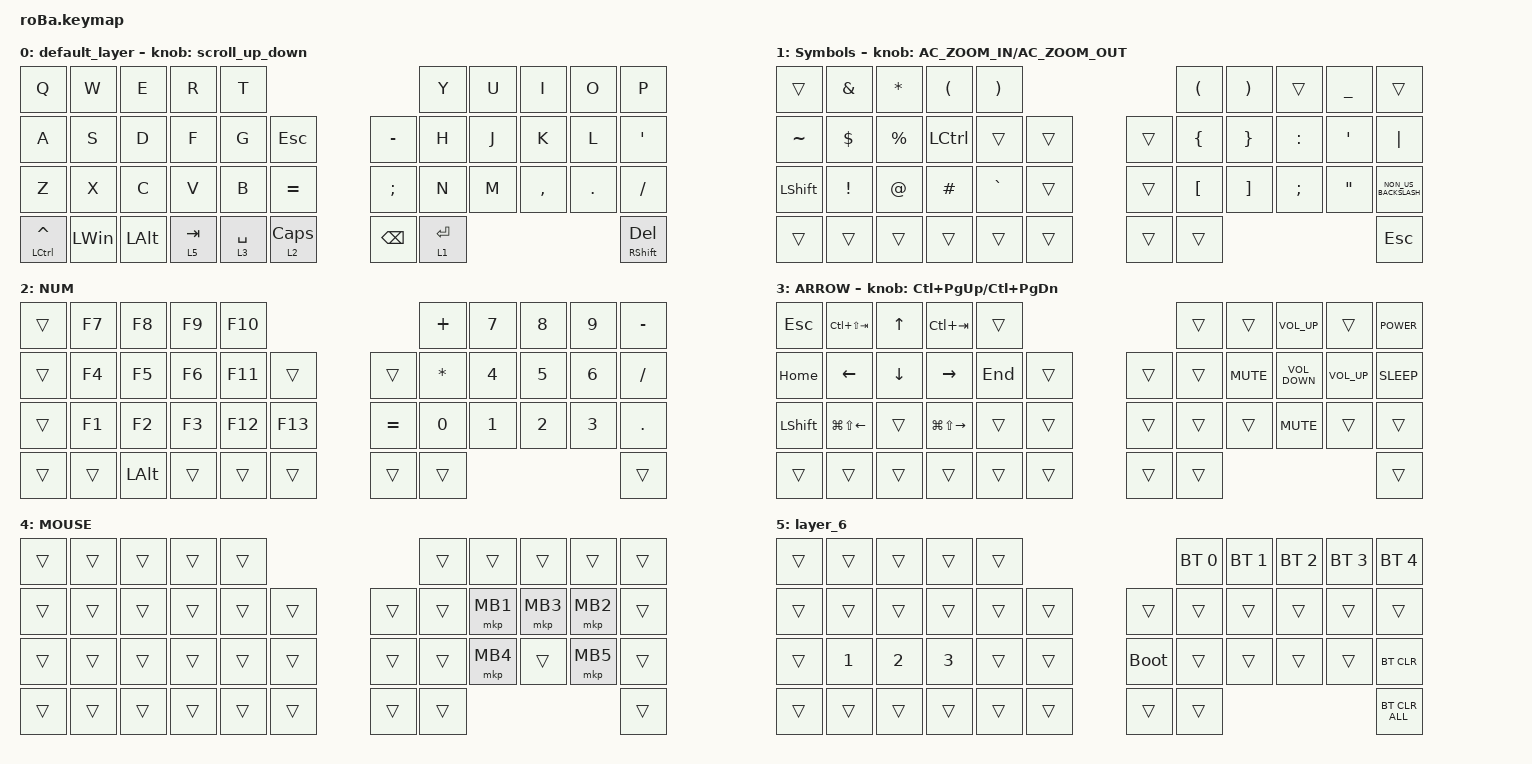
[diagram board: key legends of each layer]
#include <behaviors.dtsi>
#include <dt-bindings/zmk/bt.h>
#include <dt-bindings/zmk/keys.h>
#include <dt-bindings/zmk/pointing.h>

#define ZMK_MOUSE_DEFAULT_SCRL_VAL 100
#define MOUSE 4
#define SCROLL 5
#define NUM 6

&mt {
    flavor = "balanced";
    quick-tap-ms = <0>;
};

/ {
    combos {
        compatible = "zmk,combos";

        tab {
            bindings = <&kp TAB>;
            key-positions = <11 12>;
        };

        shift_tab {
            bindings = <&kp LS(TAB)>;
            key-positions = <12 13>;
        };

        muhennkann {
            bindings = <&to_layer_0 INT_MUHENKAN>;
            key-positions = <11 10>;
        };

        double_quotation {
            bindings = <&kp DOUBLE_QUOTES>;
            key-positions = <20 21>;
        };

        eq {
            bindings = <&kp EQUAL>;
            key-positions = <24 25>;
        };
    };

    macros {
        to_layer_0: to_layer_0 {
            compatible = "zmk,behavior-macro-one-param";
            #binding-cells = <1>;
            bindings = <&to 0 &macro_param_1to1 &kp MACRO_PLACEHOLDER>;
            label = "TO_LAYER_0";
        };
    };

    behaviors {
        lt_to_layer_0: lt_to_layer_0 {
            compatible = "zmk,behavior-hold-tap";
            label = "LAYER_TAP_TO_0";
            bindings = <&mo>, <&to_layer_0>;

            #binding-cells = <2>;
            tapping-term-ms = <200>;
        };

        scroll_up_down: behavior_sensor_rotate_mouse_wheel_up_down {
            compatible = "zmk,behavior-sensor-rotate";
            #sensor-binding-cells = <0>;
            bindings = <&msc SCRL_UP>, <&msc SCRL_DOWN>;

            tap-ms = <20>;
        };
    };

    keymap {
        compatible = "zmk,keymap";

        default_layer {
            bindings = <
&kp Q            &kp W         &kp E         &kp R                 &kp T                                                      &kp Y        &kp U  &kp I      &kp O    &kp P
&kp A            &kp S         &kp D         &kp F                 &kp G        &kp ESCAPE                     &kp MINUS      &kp H        &kp J  &kp K      &kp L    &kp SQT
&kp Z            &kp X         &kp C         &kp V                 &kp B        &kp EQUAL                      &kp SEMICOLON  &kp N        &kp M  &kp COMMA  &kp DOT  &kp SLASH
&mt LCTRL CARET  &kp LEFT_WIN  &kp LEFT_ALT  &lt_to_layer_0 5 TAB  &lt 3 SPACE  &lt_to_layer_0 2 CAPSLOCK      &kp BACKSPACE  &lt 1 ENTER                             &mt RIGHT_SHIFT DELETE
            >;

            sensor-bindings = <&scroll_up_down>;
        };

        Symbols {
            bindings = <
&trans      &kp AMPERSAND    &kp ASTERISK  &kp LEFT_PARENTHESIS  &kp RIGHT_PARENTHESIS                      &kp LEFT_PARENTHESIS  &kp RIGHT_PARENTHESIS  &trans         &kp UNDERSCORE     &trans
&kp TILDE   &kp DOLLAR       &kp PERCENT   &kp LCTRL             &trans                 &trans      &trans  &kp LEFT_BRACE        &kp RIGHT_BRACE        &kp COLON      &kp SQT            &kp PIPE
&kp LSHIFT  &kp EXCLAMATION  &kp AT_SIGN   &kp HASH              &kp GRAVE              &trans      &trans  &kp LEFT_BRACKET      &kp RIGHT_BRACKET      &kp SEMICOLON  &kp DOUBLE_QUOTES  &kp NON_US_BACKSLASH
&trans      &trans           &trans        &trans                &trans                 &trans      &trans  &trans                                                                         &kp ESCAPE
            >;

            sensor-bindings = <&inc_dec_kp C_AC_ZOOM_IN C_AC_ZOOM_OUT>;
        };

        NUM {
            bindings = <
&trans  &kp F7  &kp F8        &kp F9  &kp F10                          &kp PLUS      &kp N7        &kp N8        &kp N9        &kp MINUS
&trans  &kp F4  &kp F5        &kp F6  &kp F11  &trans       &trans     &kp ASTERISK  &kp NUMBER_4  &kp N5        &kp NUMBER_6  &kp SLASH
&trans  &kp F1  &kp F2        &kp F3  &kp F12  &kp F13      &kp EQUAL  &kp N0        &kp NUMBER_1  &kp NUMBER_2  &kp NUMBER_3  &kp PERIOD
&trans  &trans  &kp LEFT_ALT  &trans  &trans   &trans       &trans     &trans                                                  &trans
            >;
        };

        ARROW {
            bindings = <
&kp ESCAPE      &kp LC(LS(TAB))         &kp UP_ARROW    &kp LC(TAB)              &trans                       &trans  &trans      &kp C_VOL_UP       &trans           &kp K_POWER
&kp HOME        &kp LEFT_ARROW          &kp DOWN_ARROW  &kp RIGHT_ARROW          &kp END  &trans      &trans  &trans  &kp K_MUTE  &kp C_VOLUME_DOWN  &kp C_VOLUME_UP  &kp K_SLEEP
&kp LEFT_SHIFT  &kp LG(LS(LEFT_ARROW))  &trans          &kp LG(LS(RIGHT_ARROW))  &trans   &trans      &trans  &trans  &trans      &kp K_MUTE         &trans           &trans
&trans          &trans                  &trans          &trans                   &trans   &trans      &trans  &trans                                                  &trans
            >;

            sensor-bindings = <&inc_dec_kp LC(PAGE_UP) LC(PAGE_DOWN)>;
        };

        MOUSE {
            bindings = <
&trans  &trans  &trans  &trans  &trans                      &trans  &trans    &trans    &trans    &trans
&trans  &trans  &trans  &trans  &trans  &trans      &trans  &trans  &mkp MB1  &mkp MB3  &mkp MB2  &trans
&trans  &trans  &trans  &trans  &trans  &trans      &trans  &trans  &mkp MB4  &trans    &mkp MB5  &trans
&trans  &trans  &trans  &trans  &trans  &trans      &trans  &trans                                &trans
            >;
        };

        layer_6 {
            bindings = <
&trans  &trans        &trans        &trans        &trans                           &bt BT_SEL 0  &bt BT_SEL 1  &bt BT_SEL 2  &bt BT_SEL 3  &bt BT_SEL 4
&trans  &trans        &trans        &trans        &trans  &trans      &trans       &trans        &trans        &trans        &trans        &trans
&trans  &kp NUMBER_1  &kp NUMBER_2  &kp NUMBER_3  &trans  &trans      &bootloader  &trans        &trans        &trans        &trans        &bt BT_CLR
&trans  &trans        &trans        &trans        &trans  &trans      &trans       &trans                                                  &bt BT_CLR_ALL
            >;
        };
    };
};
